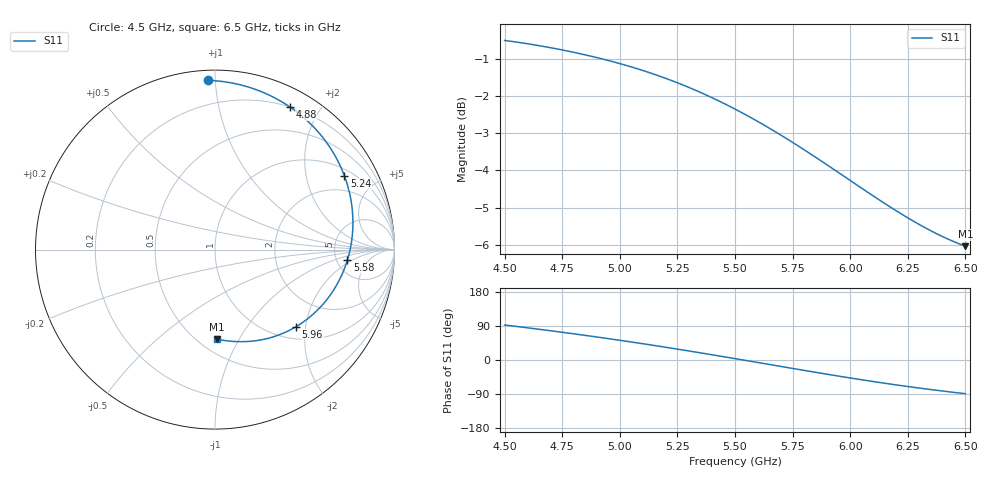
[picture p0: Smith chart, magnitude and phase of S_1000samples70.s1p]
! TOUCHSTONE file generated by CST MICROWAVE STUDIO
! Date and time: Wed Oct 26 21:25:34 2022
! Project name: L.cst
! Parameters = {Di=1.27; Epsilon_r=1.56; InnerDiameter=1.27; Length=2; Lf=10; Lg=60; OuterConductorThickness=0.2921; OuterDiameter=3.6; Wf=3; Wp=41.2; de=1.5; df=6.8; g=0.8; gx=0.749226; gy=4.07446; h=2.34; hf=1.524; px=8.28703; py=10.6933; w=9.7; wx=7.53781; wy=6.61883}
! Header version: 2018
! Port assignment regex: !\s*Touchstone port\s*([0-9]+)\s*=\s*(CST MWS port|CST DS port)\s*([0-9]+|Zmin|Zmax)\s*\(\"(.*)\"\)(\s*mode\s*([0-9]+))?.*
! Touchstone port assignment:
! Touchstone port 1 = CST MWS port 1 ("")
# GHz S DB R 50
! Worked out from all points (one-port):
!   101 points, 4.5 GHz to 6.5 GHz, reference 50 ohm
!   lowest |S11| = -6.0 dB at 6.5 GHz (marker M1), VSWR 2.99, Z = 30.5 - j40.5 ohm
!   |S11| at or under -10 dB: nowhere
!   S11 on the Smith chart (normalised r, x): 4.5 GHz: 0.06, +0.96; 4.88 GHz: 0.20, +1.63; 5.24 GHz: 1.26, +3.33; 5.58 GHz: 6.24, -1.64; 5.96 GHz: 1.26, -1.77; 6.5 GHz: 0.61, -0.81
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4.5  -0.50 92.3
4.58  -0.57 86.4
4.64  -0.63 81.8
4.7  -0.70 77.1
4.76  -0.77 72.3
4.82  -0.85 67.4
4.88  -0.94 62.4
5  -1.13 52.0
5.12  -1.35 41.1
5.18  -1.48 35.4
5.24  -1.62 29.7
5.26  -1.67 27.7
5.32  -1.82 21.8
5.38  -1.99 15.8
5.44  -2.16 9.8
5.5  -2.35 3.6
5.58  -2.62 -4.6
5.66  -2.91 -12.9
5.76  -3.29 -23.3
5.86  -3.69 -33.5
5.96  -4.10 -43.5
6  -4.27 -47.4
6.06  -4.52 -53.1
6.12  -4.77 -58.6
6.18  -5.01 -64.0
6.26  -5.31 -70.8
6.38  -5.72 -80.3
6.5  -6.04 -88.9
